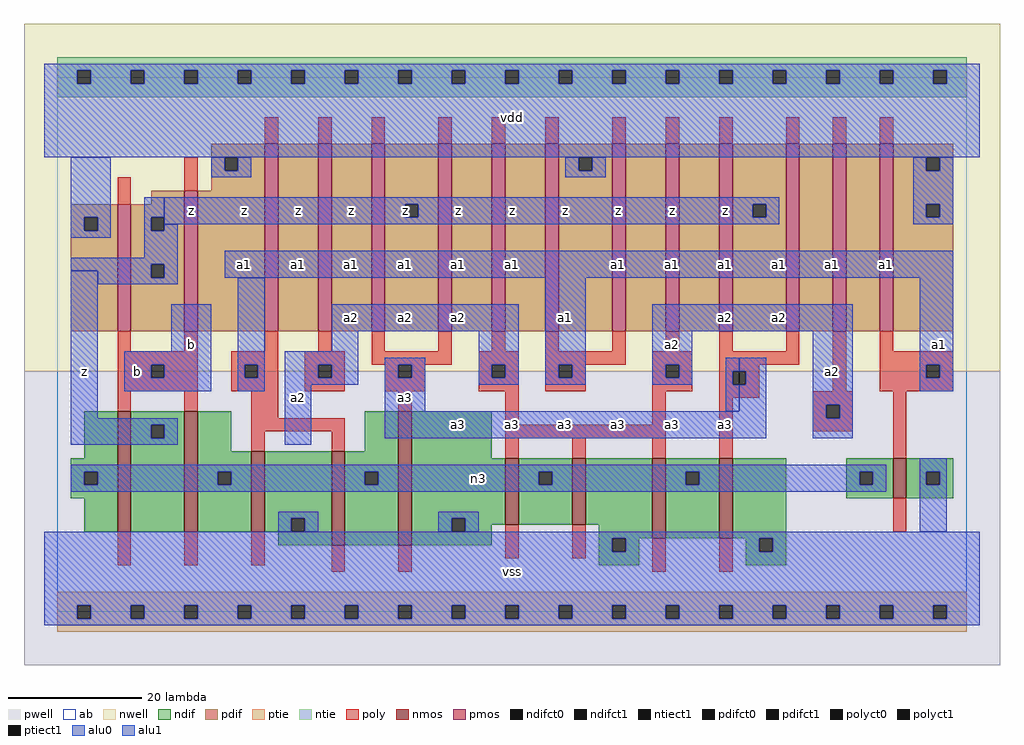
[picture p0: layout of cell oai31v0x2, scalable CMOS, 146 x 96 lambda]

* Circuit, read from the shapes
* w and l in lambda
.subckt oai31v0x2 a1 a2 a3 b n3 vdd vss z
M1 z b n3 vss nfet w=18 l=2 m=2
M2 vss a1 n3 vss nfet w=12 l=2
M3 n3 a1 vss vss nfet w=14 l=2
M4 vss a3 n3 vss nfet w=20 l=2
M5 n3 a2 vss vss nfet w=10 l=2 m=2
M6 n3 a2 vss vss nfet w=12 l=2
M7 vss a3 n3 vss nfet w=12 l=2
M8 vss a1 n3 vss nfet w=6 l=2
M9 z b vdd vdd pfet w=19 l=2
M10 vdd b z vdd pfet w=21 l=2
M11 n1 a1 vdd vdd pfet w=28 l=2
M12 n2 a2 n1 vdd pfet w=28 l=2
M13 z a3 n2 vdd pfet w=28 l=2
M14 n4 a3 z vdd pfet w=28 l=2
M15 n5 a2 n4 vdd pfet w=28 l=2
M16 vdd a1 n5 vdd pfet w=28 l=2
M17 n6 a1 vdd vdd pfet w=28 l=2
M18 n7 a2 n6 vdd pfet w=28 l=2
M19 z a3 n7 vdd pfet w=28 l=2
M20 n8 a3 z vdd pfet w=28 l=2
M21 n9 a2 n8 vdd pfet w=28 l=2
M22 vdd a1 n9 vdd pfet w=28 l=2
.ends

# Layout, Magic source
magic
tech scmos
<< ab >>
rect 0 0 136 80
<< nwell >>
rect -5 36 141 88
<< pwell >>
rect -5 -8 141 36
<< poly >>
rect 31 70 33 74
rect 39 70 41 74
rect 47 70 49 74
rect 57 70 59 74
rect 65 70 67 74
rect 73 70 75 74
rect 83 70 85 74
rect 91 70 93 74
rect 99 70 101 74
rect 109 70 111 74
rect 116 70 118 74
rect 123 70 125 74
rect 9 61 11 65
rect 19 63 21 68
rect 9 39 11 42
rect 19 39 21 42
rect 31 39 33 42
rect 39 39 41 42
rect 47 39 49 42
rect 57 39 59 42
rect 65 39 67 42
rect 73 39 75 42
rect 83 39 85 42
rect 91 39 93 42
rect 99 39 101 42
rect 109 39 111 42
rect 9 37 21 39
rect 9 35 14 37
rect 16 35 21 37
rect 9 33 21 35
rect 26 37 33 39
rect 26 35 28 37
rect 30 35 33 37
rect 26 33 33 35
rect 37 37 43 39
rect 47 37 59 39
rect 63 37 69 39
rect 37 35 39 37
rect 41 35 43 37
rect 37 33 43 35
rect 49 35 51 37
rect 53 35 55 37
rect 49 33 55 35
rect 63 35 65 37
rect 67 35 69 37
rect 63 33 69 35
rect 73 37 85 39
rect 89 37 95 39
rect 73 35 75 37
rect 77 35 79 37
rect 73 33 79 35
rect 89 35 91 37
rect 93 35 95 37
rect 89 33 95 35
rect 99 37 111 39
rect 99 36 105 37
rect 99 34 101 36
rect 103 34 105 36
rect 9 30 11 33
rect 19 30 21 33
rect 29 29 33 33
rect 51 30 53 33
rect 29 27 43 29
rect 29 24 31 27
rect 41 24 43 27
rect 9 7 11 12
rect 19 7 21 12
rect 29 7 31 12
rect 67 28 69 33
rect 89 28 91 33
rect 67 26 91 28
rect 67 23 69 26
rect 77 23 79 26
rect 89 23 91 26
rect 99 32 105 34
rect 116 33 118 42
rect 123 39 125 42
rect 123 37 134 39
rect 123 35 130 37
rect 132 35 134 37
rect 123 33 134 35
rect 99 23 101 32
rect 113 31 119 33
rect 113 29 115 31
rect 117 29 119 31
rect 113 27 119 29
rect 125 23 127 33
rect 41 6 43 10
rect 51 6 53 10
rect 67 8 69 13
rect 77 8 79 13
rect 125 12 127 17
rect 89 6 91 11
rect 99 6 101 11
<< ndif >>
rect 4 23 9 30
rect 2 21 9 23
rect 2 19 4 21
rect 6 19 9 21
rect 2 17 9 19
rect 4 12 9 17
rect 11 28 19 30
rect 11 26 14 28
rect 16 26 19 28
rect 11 12 19 26
rect 21 24 26 30
rect 46 24 51 30
rect 21 21 29 24
rect 21 19 24 21
rect 26 19 29 21
rect 21 12 29 19
rect 31 14 41 24
rect 31 12 35 14
rect 37 12 41 14
rect 33 10 41 12
rect 43 21 51 24
rect 43 19 46 21
rect 48 19 51 21
rect 43 10 51 19
rect 53 23 65 30
rect 53 14 67 23
rect 53 12 59 14
rect 61 13 67 14
rect 69 21 77 23
rect 69 19 72 21
rect 74 19 77 21
rect 69 13 77 19
rect 79 13 89 23
rect 61 12 65 13
rect 53 10 65 12
rect 81 11 89 13
rect 91 21 99 23
rect 91 19 94 21
rect 96 19 99 21
rect 91 11 99 19
rect 101 11 109 23
rect 118 21 125 23
rect 118 19 120 21
rect 122 19 125 21
rect 118 17 125 19
rect 127 21 134 23
rect 127 19 130 21
rect 132 19 134 21
rect 127 17 134 19
rect 81 9 83 11
rect 85 9 87 11
rect 81 7 87 9
rect 103 9 105 11
rect 107 9 109 11
rect 103 7 109 9
<< pdif >>
rect 23 68 31 70
rect 23 66 25 68
rect 27 66 31 68
rect 23 63 31 66
rect 14 61 19 63
rect 2 59 9 61
rect 2 57 4 59
rect 6 57 9 59
rect 2 42 9 57
rect 11 59 19 61
rect 11 57 14 59
rect 16 57 19 59
rect 11 52 19 57
rect 11 50 14 52
rect 16 50 19 52
rect 11 42 19 50
rect 21 42 31 63
rect 33 42 39 70
rect 41 42 47 70
rect 49 61 57 70
rect 49 59 52 61
rect 54 59 57 61
rect 49 42 57 59
rect 59 42 65 70
rect 67 42 73 70
rect 75 68 83 70
rect 75 66 78 68
rect 80 66 83 68
rect 75 42 83 66
rect 85 42 91 70
rect 93 42 99 70
rect 101 61 109 70
rect 101 59 104 61
rect 106 59 109 61
rect 101 42 109 59
rect 111 42 116 70
rect 118 42 123 70
rect 125 68 134 70
rect 125 66 130 68
rect 132 66 134 68
rect 125 61 134 66
rect 125 59 130 61
rect 132 59 134 61
rect 125 42 134 59
<< alu1 >>
rect -2 81 138 82
rect -2 79 3 81
rect 5 79 11 81
rect 13 79 19 81
rect 21 79 27 81
rect 29 79 35 81
rect 37 79 43 81
rect 45 79 51 81
rect 53 79 59 81
rect 61 79 67 81
rect 69 79 75 81
rect 77 79 83 81
rect 85 79 91 81
rect 93 79 99 81
rect 101 79 107 81
rect 109 79 115 81
rect 117 79 123 81
rect 125 79 131 81
rect 133 79 138 81
rect -2 68 138 79
rect 16 61 108 62
rect 16 59 52 61
rect 54 59 104 61
rect 106 59 108 61
rect 16 58 108 59
rect 2 29 6 51
rect 25 50 134 54
rect 17 39 23 46
rect 10 37 23 39
rect 10 35 14 37
rect 16 35 23 37
rect 10 33 23 35
rect 41 42 69 46
rect 41 39 45 42
rect 34 37 45 39
rect 34 35 39 37
rect 41 35 45 37
rect 34 34 45 35
rect 49 37 55 38
rect 49 35 51 37
rect 53 35 55 37
rect 2 28 18 29
rect 2 26 14 28
rect 16 26 18 28
rect 2 25 18 26
rect 34 25 38 34
rect 49 30 55 35
rect 63 37 69 42
rect 63 35 65 37
rect 67 35 69 37
rect 63 34 69 35
rect 73 37 79 50
rect 73 35 75 37
rect 77 35 79 37
rect 73 34 79 35
rect 89 42 119 46
rect 89 37 95 42
rect 89 35 91 37
rect 93 35 95 37
rect 89 34 95 35
rect 102 36 106 38
rect 103 34 106 36
rect 102 30 106 34
rect 49 26 106 30
rect 113 31 119 42
rect 129 37 134 50
rect 129 35 130 37
rect 132 35 134 37
rect 129 33 134 35
rect 113 29 115 31
rect 117 29 119 31
rect 113 26 119 29
rect -2 11 138 12
rect -2 9 83 11
rect 85 9 105 11
rect 107 9 138 11
rect -2 1 138 9
rect -2 -1 3 1
rect 5 -1 11 1
rect 13 -1 19 1
rect 21 -1 27 1
rect 29 -1 35 1
rect 37 -1 43 1
rect 45 -1 51 1
rect 53 -1 59 1
rect 61 -1 67 1
rect 69 -1 75 1
rect 77 -1 83 1
rect 85 -1 91 1
rect 93 -1 99 1
rect 101 -1 107 1
rect 109 -1 115 1
rect 117 -1 123 1
rect 125 -1 131 1
rect 133 -1 138 1
rect -2 -2 138 -1
<< ptie >>
rect 0 1 136 3
rect 0 -1 3 1
rect 5 -1 11 1
rect 13 -1 19 1
rect 21 -1 27 1
rect 29 -1 35 1
rect 37 -1 43 1
rect 45 -1 51 1
rect 53 -1 59 1
rect 61 -1 67 1
rect 69 -1 75 1
rect 77 -1 83 1
rect 85 -1 91 1
rect 93 -1 99 1
rect 101 -1 107 1
rect 109 -1 115 1
rect 117 -1 123 1
rect 125 -1 131 1
rect 133 -1 136 1
rect 0 -3 136 -1
<< ntie >>
rect 0 81 136 83
rect 0 79 3 81
rect 5 79 11 81
rect 13 79 19 81
rect 21 79 27 81
rect 29 79 35 81
rect 37 79 43 81
rect 45 79 51 81
rect 53 79 59 81
rect 61 79 67 81
rect 69 79 75 81
rect 77 79 83 81
rect 85 79 91 81
rect 93 79 99 81
rect 101 79 107 81
rect 109 79 115 81
rect 117 79 123 81
rect 125 79 131 81
rect 133 79 136 81
rect 0 77 136 79
<< nmos >>
rect 9 12 11 30
rect 19 12 21 30
rect 29 12 31 24
rect 41 10 43 24
rect 51 10 53 30
rect 67 13 69 23
rect 77 13 79 23
rect 89 11 91 23
rect 99 11 101 23
rect 125 17 127 23
<< pmos >>
rect 9 42 11 61
rect 19 42 21 63
rect 31 42 33 70
rect 39 42 41 70
rect 47 42 49 70
rect 57 42 59 70
rect 65 42 67 70
rect 73 42 75 70
rect 83 42 85 70
rect 91 42 93 70
rect 99 42 101 70
rect 109 42 111 70
rect 116 42 118 70
rect 123 42 125 70
<< polyct0 >>
rect 28 35 30 37
rect 101 34 102 36
<< polyct1 >>
rect 14 35 16 37
rect 39 35 41 37
rect 51 35 53 37
rect 65 35 67 37
rect 75 35 77 37
rect 91 35 93 37
rect 102 34 103 36
rect 130 35 132 37
rect 115 29 117 31
<< ndifct0 >>
rect 4 19 6 21
rect 24 19 26 21
rect 35 12 37 14
rect 46 19 48 21
rect 59 12 61 14
rect 72 19 74 21
rect 94 19 96 21
rect 120 19 122 21
rect 130 19 132 21
<< ndifct1 >>
rect 14 26 16 28
rect 83 9 85 11
rect 105 9 107 11
<< ntiect1 >>
rect 3 79 5 81
rect 11 79 13 81
rect 19 79 21 81
rect 27 79 29 81
rect 35 79 37 81
rect 43 79 45 81
rect 51 79 53 81
rect 59 79 61 81
rect 67 79 69 81
rect 75 79 77 81
rect 83 79 85 81
rect 91 79 93 81
rect 99 79 101 81
rect 107 79 109 81
rect 115 79 117 81
rect 123 79 125 81
rect 131 79 133 81
<< ptiect1 >>
rect 3 -1 5 1
rect 11 -1 13 1
rect 19 -1 21 1
rect 27 -1 29 1
rect 35 -1 37 1
rect 43 -1 45 1
rect 51 -1 53 1
rect 59 -1 61 1
rect 67 -1 69 1
rect 75 -1 77 1
rect 83 -1 85 1
rect 91 -1 93 1
rect 99 -1 101 1
rect 107 -1 109 1
rect 115 -1 117 1
rect 123 -1 125 1
rect 131 -1 133 1
<< pdifct0 >>
rect 25 66 27 68
rect 4 57 6 59
rect 14 57 16 59
rect 14 50 16 52
rect 78 66 80 68
rect 130 66 132 68
rect 130 59 132 61
<< pdifct1 >>
rect 52 59 54 61
rect 104 59 106 61
<< alu0 >>
rect 2 59 8 68
rect 23 66 25 68
rect 27 66 29 68
rect 23 65 29 66
rect 76 66 78 68
rect 80 66 82 68
rect 76 65 82 66
rect 128 66 130 68
rect 132 66 134 68
rect 2 57 4 59
rect 6 57 8 59
rect 2 56 8 57
rect 13 59 16 62
rect 13 57 14 59
rect 128 61 134 66
rect 128 59 130 61
rect 132 59 134 61
rect 128 58 134 59
rect 16 57 18 58
rect 13 53 18 57
rect 2 52 18 53
rect 2 51 14 52
rect 6 50 14 51
rect 16 50 18 52
rect 6 49 18 50
rect 27 37 31 50
rect 27 35 28 37
rect 30 35 31 37
rect 27 33 31 35
rect 100 36 102 38
rect 100 34 101 36
rect 100 30 102 34
rect 2 21 124 22
rect 2 19 4 21
rect 6 19 24 21
rect 26 19 46 21
rect 48 19 72 21
rect 74 19 94 21
rect 96 19 120 21
rect 122 19 124 21
rect 2 18 124 19
rect 129 21 133 23
rect 129 19 130 21
rect 132 19 133 21
rect 33 14 39 15
rect 33 12 35 14
rect 37 12 39 14
rect 57 14 63 15
rect 57 12 59 14
rect 61 12 63 14
rect 129 12 133 19
<< labels >>
rlabel alu0 63 20 63 20 6 n3
rlabel alu1 12 36 12 36 6 b
rlabel alu1 20 40 20 40 6 b
rlabel alu1 4 36 4 36 6 z
rlabel alu1 20 60 20 60 6 z
rlabel alu1 36 32 36 32 6 a2
rlabel alu1 44 44 44 44 6 a2
rlabel alu1 36 52 36 52 6 a1
rlabel alu1 44 52 44 52 6 a1
rlabel alu1 28 52 28 52 6 a1
rlabel alu1 28 60 28 60 6 z
rlabel alu1 36 60 36 60 6 z
rlabel alu1 44 60 44 60 6 z
rlabel alu1 68 6 68 6 6 vss
rlabel alu1 60 28 60 28 6 a3
rlabel alu1 68 28 68 28 6 a3
rlabel alu1 76 28 76 28 6 a3
rlabel alu1 52 32 52 32 6 a3
rlabel alu1 52 44 52 44 6 a2
rlabel alu1 76 44 76 44 6 a1
rlabel alu1 60 44 60 44 6 a2
rlabel alu1 60 52 60 52 6 a1
rlabel alu1 68 52 68 52 6 a1
rlabel alu1 52 52 52 52 6 a1
rlabel alu1 52 60 52 60 6 z
rlabel alu1 60 60 60 60 6 z
rlabel alu1 68 60 68 60 6 z
rlabel alu1 76 60 76 60 6 z
rlabel alu1 68 74 68 74 6 vdd
rlabel alu1 84 28 84 28 6 a3
rlabel alu1 100 28 100 28 6 a3
rlabel alu1 92 28 92 28 6 a3
rlabel alu1 100 44 100 44 6 a2
rlabel alu1 108 44 108 44 6 a2
rlabel alu1 92 40 92 40 6 a2
rlabel alu1 100 52 100 52 6 a1
rlabel alu1 108 52 108 52 6 a1
rlabel alu1 92 52 92 52 6 a1
rlabel alu1 84 52 84 52 6 a1
rlabel alu1 84 60 84 60 6 z
rlabel alu1 100 60 100 60 6 z
rlabel alu1 92 60 92 60 6 z
rlabel alu1 132 40 132 40 6 a1
rlabel alu1 116 36 116 36 6 a2
rlabel alu1 116 52 116 52 6 a1
rlabel alu1 124 52 124 52 6 a1
<< end >>
